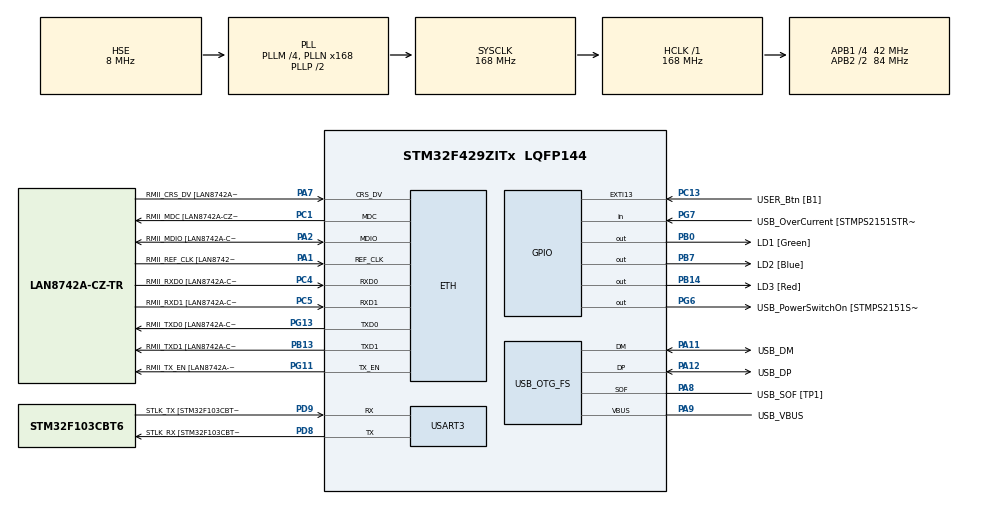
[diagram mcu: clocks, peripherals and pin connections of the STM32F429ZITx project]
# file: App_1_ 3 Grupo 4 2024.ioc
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ETH.MediaInterface=HAL_ETH_RMII_MODE
ETH.PHY_Name=LAN8742A_PHY_ADDRESS
ETH.PHY_Value=0
ETH.PhyAddress=0
Mcu.Family=STM32F4
Mcu.Name=STM32F429ZITx
Mcu.Package=LQFP144
NVIC.PriorityGroup=NVIC_PRIORITYGROUP_4
PA1.GPIO_Label=RMII_REF_CLK [LAN8742A-CZ-TR_REFCLK0]
PA1.Mode=RMII
PA1.Signal=ETH_REF_CLK
PA10.GPIO_Label=USB_ID
PA10.Signal=USB_OTG_FS_ID
PA11.GPIO_Label=USB_DM
PA11.Mode=Device_Only
PA11.Signal=USB_OTG_FS_DM
PA12.GPIO_Label=USB_DP
PA12.Mode=Device_Only
PA12.Signal=USB_OTG_FS_DP
PA13.GPIO_Label=TMS
PA13.Mode=Serial_Wire
PA13.Signal=SYS_JTMS-SWDIO
PA14.GPIO_Label=TCK
PA14.Mode=Serial_Wire
PA14.Signal=SYS_JTCK-SWCLK
PA2.GPIO_Label=RMII_MDIO [LAN8742A-CZ-TR_MDIO]
PA2.Mode=RMII
PA2.Signal=ETH_MDIO
PA7.GPIO_Label=RMII_CRS_DV [LAN8742A-CZ-TR_CRS_DV]
PA7.Mode=RMII
PA7.Signal=ETH_CRS_DV
PA8.GPIO_Label=USB_SOF [TP1]
PA8.Mode=Activate_SOF_FS
PA8.Signal=USB_OTG_FS_SOF
PA9.GPIO_Label=USB_VBUS
PA9.Mode=Activate_VBUS
PA9.Signal=USB_OTG_FS_VBUS
PB0.GPIO_Label=LD1 [Green]
PB0.Signal=GPIO_Output
PB13.GPIO_Label=RMII_TXD1 [LAN8742A-CZ-TR_TXD1]
PB13.Mode=RMII
PB13.Signal=ETH_TXD1
PB14.GPIO_Label=LD3 [Red]
PB14.Signal=GPIO_Output
PB7.GPIO_Label=LD2 [Blue]
PB7.Signal=GPIO_Output
PC1.GPIO_Label=RMII_MDC [LAN8742A-CZ-TR_MDC]
PC1.Mode=RMII
PC1.Signal=ETH_MDC
PC13.GPIO_Label=USER_Btn [B1]
PC13.Signal=GPXTI13
PC14/OSC32_IN.Mode=LSE-External-Oscillator
PC14/OSC32_IN.Signal=RCC_OSC32_IN
PC15/OSC32_OUT.Mode=LSE-External-Oscillator
PC15/OSC32_OUT.Signal=RCC_OSC32_OUT
PC4.GPIO_Label=RMII_RXD0 [LAN8742A-CZ-TR_RXD0]
PC4.Mode=RMII
PC4.Signal=ETH_RXD0
PC5.GPIO_Label=RMII_RXD1 [LAN8742A-CZ-TR_RXD1]
PC5.Mode=RMII
PC5.Signal=ETH_RXD1
PD8.GPIO_Label=STLK_RX [STM32F103CBT6_PA3]
PD8.Mode=Asynchronous
PD8.Signal=USART3_TX
PD9.GPIO_Label=STLK_TX [STM32F103CBT6_PA2]
PD9.Mode=Asynchronous
PD9.Signal=USART3_RX
PG11.GPIO_Label=RMII_TX_EN [LAN8742A-CZ-TR_TXEN]
PG11.Mode=RMII
PG11.Signal=ETH_TX_EN
PG13.GPIO_Label=RMII_TXD0 [LAN8742A-CZ-TR_TXD0]
PG13.Mode=RMII
PG13.Signal=ETH_TXD0
PG6.GPIO_Label=USB_PowerSwitchOn [STMPS2151STR_EN]
PG6.Signal=GPIO_Output
PG7.GPIO_Label=USB_OverCurrent [STMPS2151STR_FAULT]
PG7.Signal=GPIO_Input
PH0/OSC_IN.GPIO_Label=MCO [STM32F103CBT6_PA8]
PH0/OSC_IN.Mode=HSE-External-Clock-Source
PH0/OSC_IN.Signal=RCC_OSC_IN
PH1/OSC_OUT.Mode=HSE-External-Clock-Source
PH1/OSC_OUT.Signal=RCC_OSC_OUT
ProjectManager.HeapSize=0x200
ProjectManager.StackSize=0x400
ProjectManager.TargetToolchain=STM32CubeIDE
RCC.48MHZClocksFreq_Value=48000000
RCC.AHBFreq_Value=168000000
RCC.APB1CLKDivider=RCC_HCLK_DIV4
RCC.APB1Freq_Value=42000000
RCC.APB1TimFreq_Value=84000000
RCC.APB2CLKDivider=RCC_HCLK_DIV2
RCC.APB2Freq_Value=84000000
RCC.APB2TimCLKDivider=2
RCC.APB2TimFreq_Value=168000000
RCC.CortexFreq_Value=168000000
RCC.HCLKFreq_Value=168000000
RCC.HSE_VALUE=8000000
RCC.HSI_VALUE=16000000
RCC.PLLM=4
RCC.PLLMUL=RCC_PLL_MUL9
RCC.PLLN=168
RCC.PLLQ=7
RCC.PRESCALERUSB=RCC_USBCLKSOURCE_PLL_DIV1_5
RCC.SYSCLKFreq_VALUE=168000000
RCC.SYSCLKSource=RCC_SYSCLKSOURCE_PLLCLK
RCC.SYSCLKSourceVirtual=RCC_SYSCLKSOURCE_PLLCLK
RCC.USBFreq_Value=48000000
RCC.VCOOutputFreq_Value=336000000
USART3.VirtualMode=VM_ASYNC
USB_OTG_FS.VirtualMode=Device_Only
board=NUCLEO-F429ZI

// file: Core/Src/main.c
/* USER CODE BEGIN Header */
/**
  ******************************************************************************
  * @file           : main.c
  * @brief          : Main program body
  ******************************************************************************
  * @attention
  *
  * Copyright (c) 2024 STMicroelectronics.
  * All rights reserved.
  *
  * This software is licensed under terms that can be found in the LICENSE file
  * in the root directory of this software component.
  * If no LICENSE file comes with this software, it is provided AS-IS.
  *
  ******************************************************************************
  */
/* USER CODE END Header */
#include "main.h"
#include "string.h"
#include <stdbool.h>
#define LD1_Pin GPIO_PIN_0
#define LD2_Pin GPIO_PIN_7
#define LD3_Pin GPIO_PIN_14
#define USER_Btn_Pin GPIO_PIN_13

const uint16_t Led[] = {LD1_Pin , LD2_Pin , LD3_Pin};
const uint16_t Boton = USER_Btn_Pin;
const int LedCantidad = sizeof(Led) / sizeof(Led[0]);
const int secuencia1_tiempos[] = {150};
const int secuencia2_tiempos[] = {300};
const int secuencia3_tiempos[] = {100, 300, 600};
const int secuencia4_tiempos[] = {150, 150};
const int numeroTotalSecuencias = 4;
int secuenciaActual = 0;
uint32_t tiempoUltimoCambio = 0;
bool botonPresionado = false;
void LedOn (uint16_t Led )
{
	HAL_GPIO_WritePin(GPIOB, Led, GPIO_PIN_SET);
}
void LedOff (uint16_t Led )
{
	HAL_GPIO_WritePin(GPIOB, Led, GPIO_PIN_RESET);
}

/* USER CODE BEGIN Includes */
void manejarBoton() {
    bool botonActual = HAL_GPIO_ReadPin(GPIOC, USER_Btn_Pin) == GPIO_PIN_RESET;

    if (botonActual && !botonPresionado && HAL_GetTick() - tiempoUltimoCambio > 200) {
        secuenciaActual = (secuenciaActual + 1) % numeroTotalSecuencias;
        tiempoUltimoCambio = HAL_GetTick();
        botonPresionado = true;
    } else if (!botonActual) {
        botonPresionado = false;
    }
}

void secuencia1(void)
{

static int ledActual = 0;

  LedOn(Led[ledActual]);

  HAL_Delay(150);

  LedOff(Led[ledActual]);

  ledActual = (ledActual + 1 )% LedCantidad;

  HAL_Delay(150);
}

void secuencia2(void)
{

	LedOn(Led[0]);
	    LedOn(Led[1]);
	    LedOn(Led[2]);
	    HAL_Delay(300);
	    LedOff(Led[0]);
	    LedOff(Led[1]);
	    LedOff(Led[2]);
	    HAL_Delay(300);
	}
void secuencia3(void){
	static int tiempos[] = {100, 300, 600};
	    static int tiempoActual[] = {0, 0, 0};

	    for (int i = 0; i < LedCantidad; i++) {
	        tiempoActual[i]++;
	        if (tiempoActual[i] >= tiempos[i]) {
	            tiempoActual[i] = 0;
	            HAL_GPIO_TogglePin(GPIOB, Led[i]);
	        }
	    }

	    HAL_Delay(10);
	}

void secuencia4(void){
	 static uint32_t tiempoUltimoCambio = 0;
	    static bool estado = false;

	    if (HAL_GetTick() - tiempoUltimoCambio >= 150) {
	        tiempoUltimoCambio = HAL_GetTick();
	        estado = !estado;

	        if (estado) {
	            LedOn(Led[0]);  // LED1
	            LedOn(Led[2]);  // LED3
	            LedOff(Led[1]); // LED2
	        } else {
	            LedOff(Led[0]); // LED1
	            LedOff(Led[2]); // LED3
	            LedOn(Led[1]);  // LED2
	        }
	    }
	}

/* USER CODE END Includes */

ETH_TxPacketConfig TxConfig;
ETH_DMADescTypeDef  DMARxDscrTab[ETH_RX_DESC_CNT]; /* Ethernet Rx DMA Descriptors */
ETH_DMADescTypeDef  DMATxDscrTab[ETH_TX_DESC_CNT]; /* Ethernet Tx DMA Descriptors */

ETH_HandleTypeDef heth;

UART_HandleTypeDef huart3;

PCD_HandleTypeDef hpcd_USB_OTG_FS;

void SystemClock_Config(void);
static void MX_GPIO_Init(void);
static void MX_ETH_Init(void);
static void MX_USART3_UART_Init(void);
static void MX_USB_OTG_FS_PCD_Init(void);

int main(void)
{

  /* MCU Configuration--------------------------------------------------------*/

  /* Reset of all peripherals, Initializes the Flash interface and the Systick. */
  HAL_Init();

  /* Configure the system clock */
  SystemClock_Config();

  /* Initialize all configured peripherals */
  MX_GPIO_Init();
  MX_ETH_Init();
  MX_USART3_UART_Init();
  MX_USB_OTG_FS_PCD_Init();

  /* Infinite loop */
  /* USER CODE BEGIN WHILE */
  while (1)
  {

	  manejarBoton();
	  switch (secuenciaActual) {
	       case 1:
	         secuencia1();
	         break;
	       case 2:
	         secuencia2();
	         break;
	       case 3:
	         secuencia3();
	         break;
	       case 4:
	         secuencia4();
	         break;
	     }

	     }

	    }

void SystemClock_Config(void)
{
  RCC_OscInitTypeDef RCC_OscInitStruct = {0};
  RCC_ClkInitTypeDef RCC_ClkInitStruct = {0};

  /** Configure the main internal regulator output voltage
  */
  __HAL_RCC_PWR_CLK_ENABLE();
  __HAL_PWR_VOLTAGESCALING_CONFIG(PWR_REGULATOR_VOLTAGE_SCALE1);

  /** Initializes the RCC Oscillators according to the specified parameters
  * in the RCC_OscInitTypeDef structure.
  */
  RCC_OscInitStruct.OscillatorType = RCC_OSCILLATORTYPE_HSE;
  RCC_OscInitStruct.HSEState = RCC_HSE_BYPASS;
  RCC_OscInitStruct.PLL.PLLState = RCC_PLL_ON;
  RCC_OscInitStruct.PLL.PLLSource = RCC_PLLSOURCE_HSE;
  RCC_OscInitStruct.PLL.PLLM = 4;
  RCC_OscInitStruct.PLL.PLLN = 168;
  RCC_OscInitStruct.PLL.PLLP = RCC_PLLP_DIV2;
  RCC_OscInitStruct.PLL.PLLQ = 7;
  if (HAL_RCC_OscConfig(&RCC_OscInitStruct) != HAL_OK)
  {
    Error_Handler();
  }

  /** Initializes the CPU, AHB and APB buses clocks
  */
  RCC_ClkInitStruct.ClockType = RCC_CLOCKTYPE_HCLK|RCC_CLOCKTYPE_SYSCLK
                              |RCC_CLOCKTYPE_PCLK1|RCC_CLOCKTYPE_PCLK2;
  RCC_ClkInitStruct.SYSCLKSource = RCC_SYSCLKSOURCE_PLLCLK;
  RCC_ClkInitStruct.AHBCLKDivider = RCC_SYSCLK_DIV1;
  RCC_ClkInitStruct.APB1CLKDivider = RCC_HCLK_DIV4;
  RCC_ClkInitStruct.APB2CLKDivider = RCC_HCLK_DIV2;

  if (HAL_RCC_ClockConfig(&RCC_ClkInitStruct, FLASH_LATENCY_5) != HAL_OK)
  {
    Error_Handler();
  }
}

static void MX_ETH_Init(void)
{

   static uint8_t MACAddr[6];

  heth.Instance = ETH;
  MACAddr[0] = 0x00;
  MACAddr[1] = 0x80;
  MACAddr[2] = 0xE1;
  MACAddr[3] = 0x00;
  MACAddr[4] = 0x00;
  MACAddr[5] = 0x00;
  heth.Init.MACAddr = &MACAddr[0];
  heth.Init.MediaInterface = HAL_ETH_RMII_MODE;
  heth.Init.TxDesc = DMATxDscrTab;
  heth.Init.RxDesc = DMARxDscrTab;
  heth.Init.RxBuffLen = 1524;

  if (HAL_ETH_Init(&heth) != HAL_OK)
  {
    Error_Handler();
  }

  memset(&TxConfig, 0 , sizeof(ETH_TxPacketConfig));
  TxConfig.Attributes = ETH_TX_PACKETS_FEATURES_CSUM | ETH_TX_PACKETS_FEATURES_CRCPAD;
  TxConfig.ChecksumCtrl = ETH_CHECKSUM_IPHDR_PAYLOAD_INSERT_PHDR_CALC;
  TxConfig.CRCPadCtrl = ETH_CRC_PAD_INSERT;

}

static void MX_USART3_UART_Init(void)
{

  huart3.Instance = USART3;
  huart3.Init.BaudRate = 115200;
  huart3.Init.WordLength = UART_WORDLENGTH_8B;
  huart3.Init.StopBits = UART_STOPBITS_1;
  huart3.Init.Parity = UART_PARITY_NONE;
  huart3.Init.Mode = UART_MODE_TX_RX;
  huart3.Init.HwFlowCtl = UART_HWCONTROL_NONE;
  huart3.Init.OverSampling = UART_OVERSAMPLING_16;
  if (HAL_UART_Init(&huart3) != HAL_OK)
  {
    Error_Handler();
  }

}

static void MX_USB_OTG_FS_PCD_Init(void)
{

  hpcd_USB_OTG_FS.Instance = USB_OTG_FS;
  hpcd_USB_OTG_FS.Init.dev_endpoints = 4;
  hpcd_USB_OTG_FS.Init.speed = PCD_SPEED_FULL;
  hpcd_USB_OTG_FS.Init.dma_enable = DISABLE;
  hpcd_USB_OTG_FS.Init.phy_itface = PCD_PHY_EMBEDDED;
  hpcd_USB_OTG_FS.Init.Sof_enable = ENABLE;
  hpcd_USB_OTG_FS.Init.low_power_enable = DISABLE;
  hpcd_USB_OTG_FS.Init.lpm_enable = DISABLE;
  hpcd_USB_OTG_FS.Init.vbus_sensing_enable = ENABLE;
  hpcd_USB_OTG_FS.Init.use_dedicated_ep1 = DISABLE;
  if (HAL_PCD_Init(&hpcd_USB_OTG_FS) != HAL_OK)
  {
    Error_Handler();
  }

}

static void MX_GPIO_Init(void)
{
  GPIO_InitTypeDef GPIO_InitStruct = {0};

  /* GPIO Ports Clock Enable */
  __HAL_RCC_GPIOC_CLK_ENABLE();
  __HAL_RCC_GPIOH_CLK_ENABLE();
  __HAL_RCC_GPIOA_CLK_ENABLE();
  __HAL_RCC_GPIOB_CLK_ENABLE();
  __HAL_RCC_GPIOD_CLK_ENABLE();
  __HAL_RCC_GPIOG_CLK_ENABLE();

  /*Configure GPIO pin Output Level */
  HAL_GPIO_WritePin(GPIOB, LD1_Pin|LD3_Pin|LD2_Pin, GPIO_PIN_RESET);

  /*Configure GPIO pin Output Level */
  HAL_GPIO_WritePin(USB_PowerSwitchOn_GPIO_Port, USB_PowerSwitchOn_Pin, GPIO_PIN_RESET);

  /*Configure GPIO pin : USER_Btn_Pin */
  GPIO_InitStruct.Pin = USER_Btn_Pin;
  GPIO_InitStruct.Mode = GPIO_MODE_IT_RISING;
  GPIO_InitStruct.Pull = GPIO_NOPULL;
  HAL_GPIO_Init(USER_Btn_GPIO_Port, &GPIO_InitStruct);

  /*Configure GPIO pins : LD1_Pin LD3_Pin LD2_Pin */
  GPIO_InitStruct.Pin = LD1_Pin|LD3_Pin|LD2_Pin;
  GPIO_InitStruct.Mode = GPIO_MODE_OUTPUT_PP;
  GPIO_InitStruct.Pull = GPIO_NOPULL;
  GPIO_InitStruct.Speed = GPIO_SPEED_FREQ_LOW;
  HAL_GPIO_Init(GPIOB, &GPIO_InitStruct);

  /*Configure GPIO pin : USB_PowerSwitchOn_Pin */
  GPIO_InitStruct.Pin = USB_PowerSwitchOn_Pin;
  GPIO_InitStruct.Mode = GPIO_MODE_OUTPUT_PP;
  GPIO_InitStruct.Pull = GPIO_NOPULL;
  GPIO_InitStruct.Speed = GPIO_SPEED_FREQ_LOW;
  HAL_GPIO_Init(USB_PowerSwitchOn_GPIO_Port, &GPIO_InitStruct);

  /*Configure GPIO pin : USB_OverCurrent_Pin */
  GPIO_InitStruct.Pin = USB_OverCurrent_Pin;
  GPIO_InitStruct.Mode = GPIO_MODE_INPUT;
  GPIO_InitStruct.Pull = GPIO_NOPULL;
  HAL_GPIO_Init(USB_OverCurrent_GPIO_Port, &GPIO_InitStruct);

}

void Error_Handler(void)
{
  __disable_irq();
  while (1)
  {
  }
}
